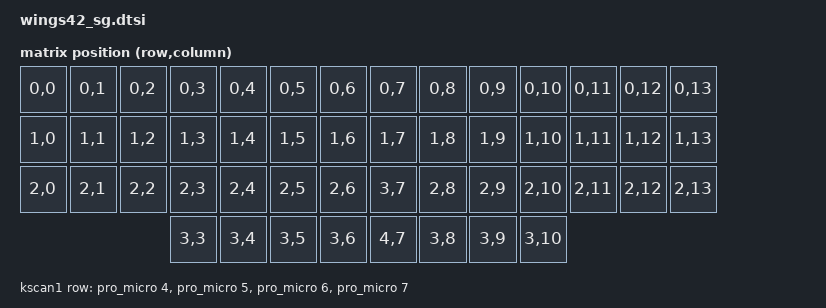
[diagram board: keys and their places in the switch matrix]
/*
 * Copyright (c) 2022 KyouTansan
 * SPDX-License-Identifier: MIT
 */
#include <dt-bindings/zmk/matrix_transform.h>
/ {
	chosen {
		zmk,kscan = &kscan0;
		zmk,matrix_transform = &default_transform;
	};
	default_transform: keymap_transform_0 {
		compatible = "zmk,matrix-transform";
		columns = <14>;
		rows = <4>;
		map = <
RC(0,0) RC(0,1) RC(0,2) RC(0,3) RC(0,4) RC(0,5)  RC(0,6) RC(0,7)  RC(0,8) RC(0,9) RC(0,10) RC(0,11) RC(0,12) RC(0,13)
RC(1,0) RC(1,1) RC(1,2) RC(1,3) RC(1,4) RC(1,5)  RC(1,6) RC(1,7)  RC(1,8) RC(1,9) RC(1,10) RC(1,11) RC(1,12) RC(1,13)
RC(2,0) RC(2,1) RC(2,2) RC(2,3) RC(2,4) RC(2,5)  RC(2,6) RC(3,7)  RC(2,8) RC(2,9) RC(2,10) RC(2,11) RC(2,12) RC(2,13)
                        RC(3,3) RC(3,4) RC(3,5)  RC(3,6) RC(4,7)  RC(3,8) RC(3,9) RC(3,10)
		>;
	};
	kscan0: kscan0 {
		compatible = "zmk,kscan-composite";
		label = "KSCAN0";
		rows = <4>;
		columns = <14>;
		matrix1: matrix1 {	kscan = <&kscan1>;	column-offset = <0>;	};
	};
	kscan1: kscan1 {
		compatible = "zmk,kscan-gpio-matrix";
		label = "KSCAN1";
		diode-direction = "col2row";
		row-gpios
			= <&pro_micro 4 (GPIO_ACTIVE_HIGH | GPIO_PULL_DOWN)>
			, <&pro_micro 5 (GPIO_ACTIVE_HIGH | GPIO_PULL_DOWN)>
			, <&pro_micro 6 (GPIO_ACTIVE_HIGH | GPIO_PULL_DOWN)>
			, <&pro_micro 7 (GPIO_ACTIVE_HIGH | GPIO_PULL_DOWN)>
			;
	};
	kscan2: kscan2 {
		compatible = "zmk,kscan-gpio-matrix";
		label = "KSCAN2";
		status = "disabled";
	};
	kscan3: kscan3 {
		compatible = "zmk,kscan-gpio-matrix";
		label = "KSCAN3";
		status = "disabled";
	};
	direct_scan: direct_scan {
		compatible = "zmk,kscan-gpio-direct";
		label = "KSCANRRE";
		status = "disabled";
	};	
	right_encoder: encoder_right {
		compatible = "alps,ec11";
		label = "RIGHT_ENCODER";
		status = "disabled";
	};
	sensors: sensors {
		compatible = "zmk,keymap-sensors";
		sensors = <&right_encoder>;
		status = "disabled";
	};
	tpoint {
		compatible = "zmk,track-point";
		label = "TRACKPOINT";
		io-channels = <&adc 5>,<&adc 0>;
		output-ohms = <1000>;
		full-ohms = <(1000 + 345)>;
		power-gpios {
		    label = "ADC_POWER";
		    pin = <31>;
		    flags = <0>;
		    };
		power-gpios = <&gpio0 31 0>;
/*		power-gpios = <&gpio0 31 0x501>;		*/
/*		power-gpios = <&gpio0 31 GPIO_OUTPUT_ACTIVE>;*/
		/* 0x00000503 sense:0 drive:D0H1 pull:no pull input:disconnect dir:output*/
		/*#define GPIO_OUTPUT             (1U << 9)*/
		/*#define GPIO_OUTPUT_INIT_LOW    (1U << 10)*/
	};
};
